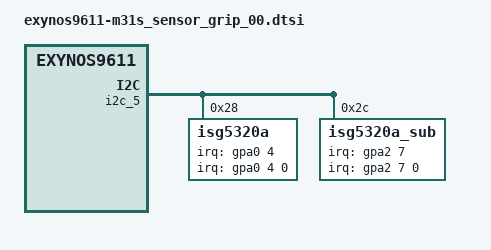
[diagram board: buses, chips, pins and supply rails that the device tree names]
/*
 * SAMSUNG EXYNOS850 board device tree source
 *
 * Copyright (c) 2019 Samsung Electronics Co., Ltd.
 *		http://www.samsung.com
 *
 * This program is free software; you can redistribute it and/or modify
 * it under the terms of the GNU General Public License version 2 as
 * published by the Free Software Foundation.
 */

&i2c_5 {
	#address-cells = <1>;
	#size-cells = <0>;
	status = "okay";
	samsung,i2c-sda-delay = <100>;
	samsung,i2c-max-bus-freq = <400000>;

	isg5320a@28 {
		compatible = "isg5320a";
		pinctrl-names = "default";
		pinctrl-0 = <&grip_int>;
		reg = <0x28>;
		status = "okay";
		interrupt-parent = <&gpa0>;
		interrupts = <4 0 0>;
		isg5320a,irq-gpio = <&gpa0 4 0x00>;
		isg5320a,hallic_detect = <0>;
		isg5320a,hallic_cert_detect = <0>;
	};

	isg5320a_sub@2C {
		compatible = "isg5320a_sub";
		pinctrl-names = "default";
		pinctrl-0 = <&grip_sub_int>;
		reg = <0x2C>;
		status = "okay";
		interrupt-parent = <&gpa2>;
		interrupts = <7 0 0>;
		isg5320a_sub,irq-gpio = <&gpa2 7 0x00>;
		isg5320a_sub,hallic_detect = <0>;
		isg5320a_sub,hallic_cert_detect = <0>;
	};
};

&pinctrl_0 {
	grip_int: grip-int {
		samsung,pins = "gpa0-4";
		samsung,pin-function = <0xf>;
		samsung,pin-pud = <0>;
	};

	grip_sub_int: grip-sub-int {
		samsung,pins = "gpa2-7";
		samsung,pin-function = <0xf>;
		samsung,pin-pud = <0>;
	};
};
